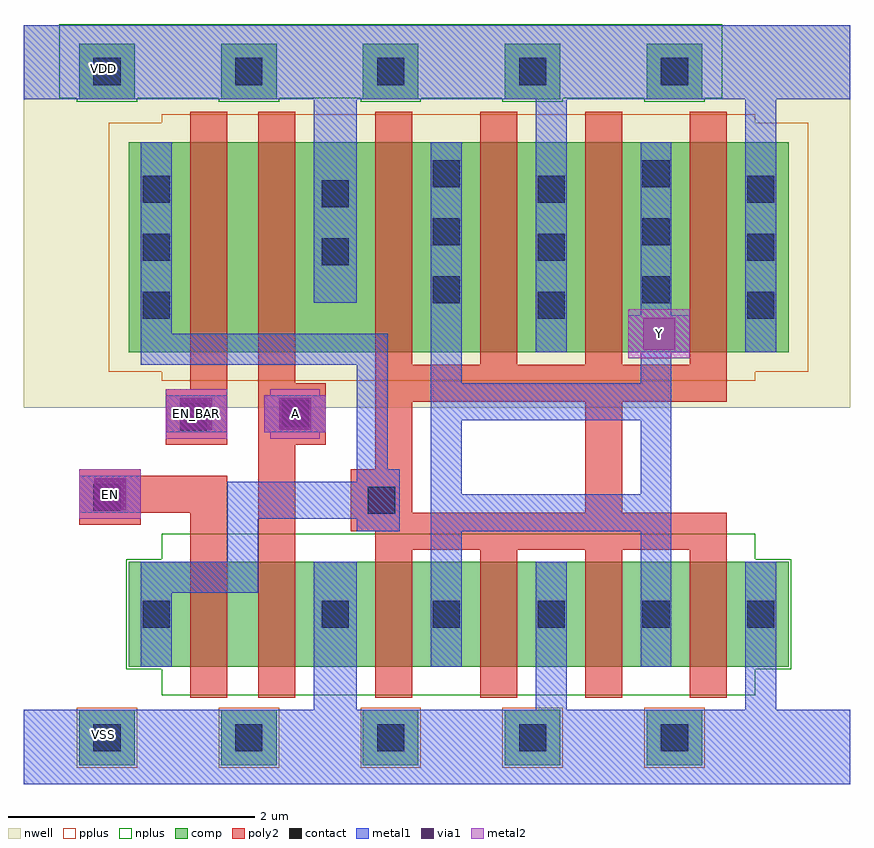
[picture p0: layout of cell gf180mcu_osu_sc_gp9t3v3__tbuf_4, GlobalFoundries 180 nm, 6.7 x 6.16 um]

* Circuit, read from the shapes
.subckt gf180mcu_osu_sc_gp9t3v3__tbuf_4 A EN EN_BAR VDD VSS Y
XM1 n1 EN n2 VSS nfet_03v3 w=0.85u l=0.3u
XM2 VSS A n1 VSS nfet_03v3 w=0.85u l=0.3u
XM3 Y n2 VSS VSS nfet_03v3 w=0.85u l=0.3u m=4
XM4 n3 EN_BAR n2 VDD pfet_03v3 w=1.7u l=0.3u
XM5 VDD A n3 VDD pfet_03v3 w=1.7u l=0.3u
XM6 Y n2 VDD VDD pfet_03v3 w=1.7u l=0.3u m=4
.ends

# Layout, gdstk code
import gdstk
lib = gdstk.Library(unit=1e-6, precision=1e-09)
def R(c, l, rs):  # rectangles x0, y0, x1, y1
    for r in rs: c.add(gdstk.rectangle(r[:2], r[2:], *l))
def A(c, l, x, y, w, h, nx, ny, dx, dy):  # array of equal rectangles
    R(c, l, [(x+i*dx, y+j*dy, x+i*dx+w, y+j*dy+h) for i in range(nx) for j in range(ny)])
nwell = (21, 0)
comp = (22, 0)
poly2 = (30, 0)
pplus = (31, 0)
nplus = (32, 0)
contact = (33, 0)
metal1 = (34, 0)
via1 = (35, 0)
metal2 = (36, 0)

gf180mcu_osu_sc_gp9t3v3_ = lib.new_cell('gf180mcu_osu_sc_gp9t3v3__tbuf_4')
R(gf180mcu_osu_sc_gp9t3v3_, nwell, [(0,3.05,6.7,6.15)])
A(gf180mcu_osu_sc_gp9t3v3_, comp, 0.45, 0.15, 0.45, 0.45, 5, 2, 1.15, 5.4)
R(gf180mcu_osu_sc_gp9t3v3_, comp, [(0.85,0.95,6.2,1.8), (0.85,3.5,6.2,5.2)])
A(gf180mcu_osu_sc_gp9t3v3_, poly2, 2.85, 0.7, 0.3, 1.2, 4, 1, 0.85, 0)
A(gf180mcu_osu_sc_gp9t3v3_, poly2, 2.85, 3.4, 0.3, 2.05, 4, 1, 0.85, 0)
R(gf180mcu_osu_sc_gp9t3v3_, poly2, [(1.35,0.7,1.65,2.2), (1.9,0.7,2.2,2.75), (2.85,1.9,5.7,2.05), (2.65,2.05,5.7,2.2), (0.45,2.1,0.95,2.2), (0.45,2.2,1.65,2.5), (2.65,2.2,3.15,2.55), (4.55,2.2,4.85,3.1), (0.45,2.5,0.95,2.55), (2.85,2.55,3.15,3.1), (1.15,2.75,1.65,3.2), (1.9,2.75,2.45,3.25), (2.85,3.1,5.7,3.4), (1.35,3.2,1.65,5.45), (1.9,3.25,2.2,5.45)])
A(gf180mcu_osu_sc_gp9t3v3_, pplus, 0.43, 0.13, 0.49, 0.49, 5, 1, 1.15, 0)
R(gf180mcu_osu_sc_gp9t3v3_, pplus, [(1.12,3.27,5.93,3.34), (0.69,3.34,6.36,5.36), (1.12,5.36,5.93,5.43)])
A(gf180mcu_osu_sc_gp9t3v3_, nplus, 0.43, 5.53, 0.49, 0.03, 5, 1, 1.15, 0)
R(gf180mcu_osu_sc_gp9t3v3_, nplus, [(1.12,0.72,5.93,0.93), (0.83,0.93,6.22,1.82), (1.12,1.82,5.93,2.03), (0.29,5.56,5.66,6.16)])
A(gf180mcu_osu_sc_gp9t3v3_, contact, 0.565, 0.265, 0.22, 0.22, 5, 2, 1.15, 5.4)
A(gf180mcu_osu_sc_gp9t3v3_, contact, 3.315, 1.265, 0.22, 0.22, 4, 1, 0.85, 0)
A(gf180mcu_osu_sc_gp9t3v3_, contact, 0.965, 3.77, 0.22, 0.22, 1, 3, 0, 0.47)
A(gf180mcu_osu_sc_gp9t3v3_, contact, 4.165, 3.77, 0.22, 0.22, 1, 3, 0, 0.47)
A(gf180mcu_osu_sc_gp9t3v3_, contact, 5.865, 3.77, 0.22, 0.22, 1, 3, 0, 0.47)
A(gf180mcu_osu_sc_gp9t3v3_, contact, 3.315, 3.895, 0.22, 0.22, 1, 3, 0, 0.47)
A(gf180mcu_osu_sc_gp9t3v3_, contact, 5.015, 3.895, 0.22, 0.22, 1, 3, 0, 0.47)
R(gf180mcu_osu_sc_gp9t3v3_, contact, [(0.965,1.265,1.185,1.485), (2.415,1.265,2.635,1.485), (2.79,2.19,3.01,2.41), (0.565,2.215,0.785,2.435), (1.265,2.865,1.485,3.085), (2.09,2.89,2.31,3.11), (2.415,4.205,2.635,4.425), (2.415,4.675,2.635,4.895)])
R(gf180mcu_osu_sc_gp9t3v3_, metal1, [(0,0,6.7,0.6), (2.35,0.6,2.7,1.8), (4.15,0.6,4.4,1.8), (5.85,0.6,6.1,1.8), (0.95,0.95,1.2,1.55), (3.3,0.95,3.55,2.05), (5,0.95,5.25,2.05), (0.95,1.55,1.9,1.8), (1.65,1.8,1.9,2.15), (2.7,2.05,3.05,2.15), (3.3,2.05,5.25,2.35), (1.65,2.15,3.05,2.45), (0.45,2.2,0.95,2.5), (3.3,2.35,3.55,2.95), (5,2.35,5.25,2.95), (2.7,2.45,3.05,2.55), (2.7,2.55,2.95,3.4), (1.15,2.85,1.65,3.15), (1.95,2.85,2.45,3.15), (3.3,2.95,5.25,3.25), (3.3,3.25,3.55,5.2), (5,3.25,5.25,3.5), (0.95,3.4,2.95,3.65), (4.15,3.5,4.4,5.55), (4.9,3.5,5.4,3.8), (5.85,3.5,6.1,5.55), (0.95,3.65,1.2,5.2), (5,3.8,5.25,5.2), (2.35,3.9,2.7,5.55), (0,5.55,6.7,6.15)])
R(gf180mcu_osu_sc_gp9t3v3_, via1, [(0.57,2.22,0.83,2.48), (1.27,2.87,1.53,3.13), (2.07,2.87,2.33,3.13), (5.02,3.52,5.28,3.78)])
R(gf180mcu_osu_sc_gp9t3v3_, metal2, [(0.45,2.15,0.95,2.55), (1.15,2.8,1.65,3.2), (2,2.8,2.4,2.85), (1.95,2.85,2.45,3.15), (2,3.15,2.4,3.2), (4.9,3.45,5.4,3.85)])
gf180mcu_osu_sc_gp9t3v3_.add(gdstk.Label('VDD', (0.65,5.8), layer=34, texttype=0))
gf180mcu_osu_sc_gp9t3v3_.add(gdstk.Label('VSS', (0.65,0.4), layer=34, texttype=0))
gf180mcu_osu_sc_gp9t3v3_.add(gdstk.Label('A', (2.2,3), layer=36, texttype=10))
gf180mcu_osu_sc_gp9t3v3_.add(gdstk.Label('Y', (5.15,3.65), layer=36, texttype=10))
gf180mcu_osu_sc_gp9t3v3_.add(gdstk.Label('EN', (0.7,2.35), layer=36, texttype=10))
gf180mcu_osu_sc_gp9t3v3_.add(gdstk.Label('EN_BAR', (1.4,3), layer=36, texttype=10))

lib.write_gds('gf180mcu_osu_sc_gp9t3v3__tbuf_4.gds')
